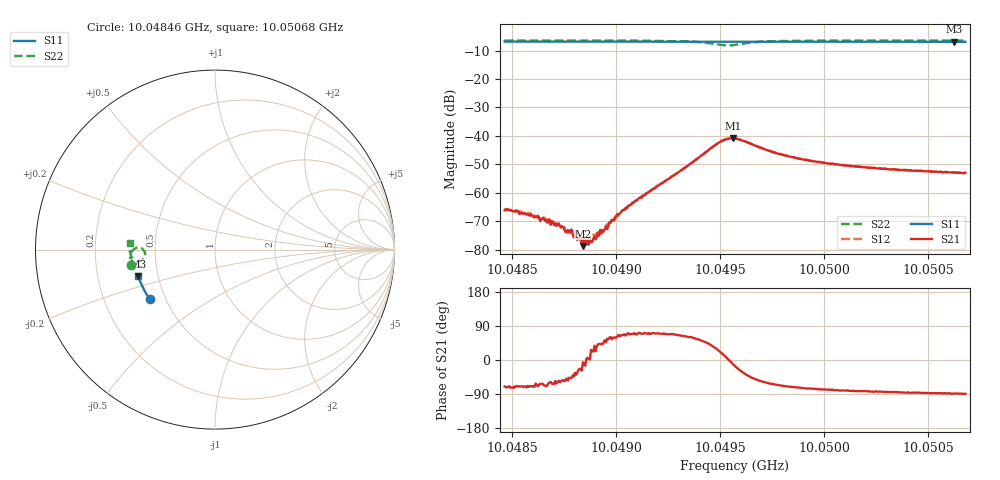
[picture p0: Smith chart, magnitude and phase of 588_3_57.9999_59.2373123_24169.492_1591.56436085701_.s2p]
#  HZ  S  RI  R  50.00
! Rohde & Schwarz Vector Network Analyzer
! Rohde-Schwarz,ZNB20-2Port,1311601062101988,3.16
! Created: UTC 3/21/2024, 1:16:43 AM
! freq[Hz]  re:S11  im:S11  re:S21  im:S21  re:S12  im:S12  re:S22  im:S22
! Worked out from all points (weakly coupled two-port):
!   401 points, 10.04846 GHz to 10.05068 GHz, reference 50 ohm
!   highest |S21| = -40.85 dB at 10.04956 GHz (marker M1); lowest = -78.7 dB at 10.04884 GHz (marker M2)
!   lowest |S11| = -6.9 dB at 10.05062 GHz (marker M3), VSWR 2.65, Z = 19.3 - j7.18 ohm
!   |S11| at or under -10 dB: nowhere
!   |S22| runs from -8.2 to -6.4 dB; largest |S21 - S12| = 0.00068
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1.0048463e10  -0.3647 -0.274  0.000169 -0.000461  0.000192 -0.000459  -0.469 -0.0879
1.0048519e10  -0.3667 -0.271  0.00016 -0.000452  0.000186 -0.000459  -0.4694 -0.084
1.0048663e10  -0.372 -0.2631  0.000121 -0.000316  0.000147 -0.000287  -0.4708 -0.0733
1.0048729e10  -0.3745 -0.2595  0.000138 -0.000221  0.000169 -0.000198  -0.4713 -0.0681
1.0048762e10  -0.3757 -0.2576  0.000138 -0.000158  0.00013 -0.000163  -0.4715 -0.0656
1.0048779e10  -0.3762 -0.2567  0.000137 -0.000151  0.000159 -0.000151  -0.4716 -0.0643
1.0048801e10  -0.377 -0.2555  0.000144 -9.66e-05  0.000123 -0.000118  -0.4717 -0.0624
1.0048834e10  -0.3783 -0.2535  0.000124 -6.68e-05  0.000118 -2.75e-05  -0.4716 -0.0598
1.004884e10  -0.3784 -0.2533  0.000115 -1.24e-05  0.000135 -2.6e-05  -0.4717 -0.0592
1.0048851e10  -0.3788 -0.2526  0.00013 -3.54e-05  0.000129 -1.44e-05  -0.4718 -0.0584
1.004889e10  -0.3803 -0.2507  0.000145 5.83e-05  0.000154 9.57e-05  -0.472 -0.0552
1.0048951e10  -0.3823 -0.2471  0.000174 0.000186  0.000154 0.000215  -0.472 -0.0498
1.0049017e10  -0.3845 -0.2433  0.000198 0.000384  0.000191 0.000393  -0.4718 -0.0437
1.0049205e10  -0.3907 -0.2324  0.000468 0.00127  0.000393 0.00129  -0.4686 -0.0232
1.0049488e10  -0.3987 -0.2158  0.00659 0.00332  0.00637 0.00378  -0.4075 0.00621
1.004956e10  -0.4005 -0.2121  0.00891 -0.00164  0.00904 -0.000974  -0.3917 -0.0401
1.0049571e10  -0.4009 -0.2115  0.00863 -0.00247  0.00884 -0.00186  -0.3955 -0.0472
1.0049759e10  -0.4067 -0.2008  0.00223 -0.00461  0.00251 -0.00451  -0.4611 -0.0469
1.0049942e10  -0.4119 -0.1897  0.000882 -0.0035  0.00108 -0.00346  -0.4721 -0.0223
1.0050313e10  -0.4209 -0.167  0.000252 -0.00257  0.000406 -0.0026  -0.4755 0.0116
1.0050623e10  -0.4275 -0.1479  5.02e-05 -0.00229  0.00017 -0.00227  -0.4746 0.0352
1.0050678e10  -0.4287 -0.1444  3.59e-05 -0.00225  0.000148 -0.00224  -0.4743 0.0391
